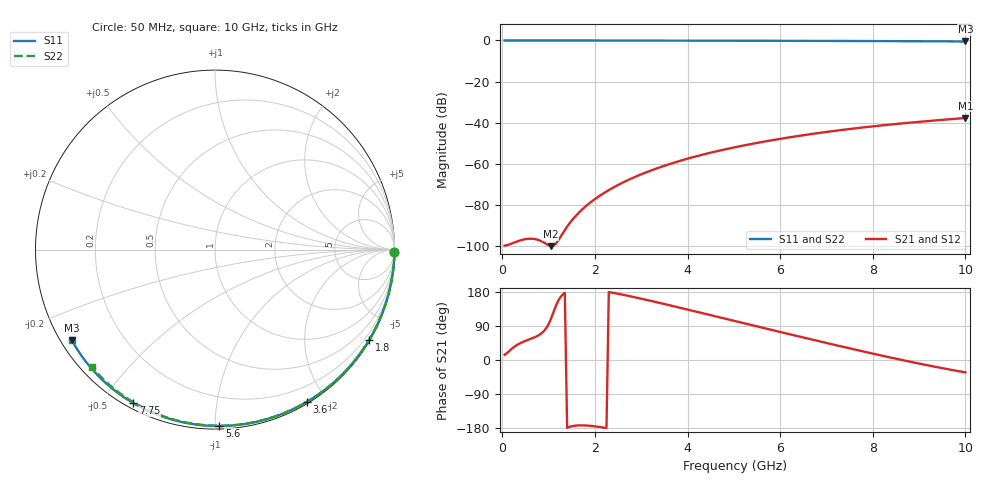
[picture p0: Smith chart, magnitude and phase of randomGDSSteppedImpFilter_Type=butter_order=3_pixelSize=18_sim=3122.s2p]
! freq	dB(S11)	phase(S11)	dB(S12)	phase(S12)
!  dB(S21)	phase(S21)	dB(S22)	phase(S22)
!S-par simulation data
#  GHz  S  DB  R 50
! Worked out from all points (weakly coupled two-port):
!   200 points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, 50 MHz to 10 GHz, reference 50 ohm
!   highest |S21| = -37.78 dB at 10 GHz (marker M1); lowest = -100.2 dB at 1.05 GHz (marker M2)
!   lowest |S11| = -0.5 dB at 10 GHz (marker M3), VSWR 34.67, Z = 1.56 - j14.4 ohm
!   |S11| at or under -10 dB: nowhere
!   |S22| runs from -0.5 to 0.0 dB; largest |S21 - S12| = 0
!   S11 on the Smith chart (normalised r, x): 50 MHz: open; 1.8 GHz: 0.03, -3.70; 3.6 GHz: 0.02, -1.77; 5.6 GHz: 0.02, -1.03; 7.75 GHz: 0.02, -0.60; 10 GHz: 0.03, -0.29
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0.05  -0.00 -0.9  -100.00 13.9  -100.00 13.9  -0.00 -0.8
0.55  -0.01 -9.4  -96.67 52.9  -96.67 52.9  -0.01 -8.5
1.05  -0.02 -17.8  -100.24 108.1  -100.24 108.1  -0.02 -16.1
1.75  -0.04 -29.4  -81.82 -172.6  -81.82 -172.6  -0.03 -26.7
1.8  -0.04 -30.2  -80.82 -172.8  -80.82 -172.8  -0.03 -27.5
1.85  -0.04 -31.0  -79.88 -173.2  -79.88 -173.2  -0.04 -28.2
2  -0.04 -33.5  -77.29 -175.1  -77.29 -175.1  -0.04 -30.4
2.15  -0.05 -35.9  -74.99 -177.7  -74.99 -177.7  -0.04 -32.7
2.35  -0.05 -39.2  -72.26 178.2  -72.26 178.2  -0.04 -35.6
2.55  -0.05 -42.4  -69.84 173.5  -69.84 173.5  -0.05 -38.6
2.95  -0.06 -48.8  -65.69 163.2  -65.69 163.2  -0.06 -44.4
3.4  -0.07 -55.8  -61.82 150.6  -61.82 150.6  -0.07 -50.8
3.6  -0.08 -58.9  -60.31 144.9  -60.31 144.9  -0.07 -53.7
4.3  -0.10 -69.6  -55.79 124.2  -55.79 124.2  -0.09 -63.4
5.05  -0.12 -80.7  -51.91 102.0  -51.91 102.0  -0.11 -73.6
5.6  -0.15 -88.6  -49.51 85.7  -49.51 85.7  -0.13 -80.9
6.15  -0.17 -96.3  -47.39 69.6  -47.39 69.6  -0.16 -88.0
6.7  -0.20 -103.9  -45.52 53.6  -45.52 53.6  -0.18 -95.0
7.75  -0.27 -118.0  -42.49 23.8  -42.49 23.8  -0.25 -108.0
8.35  -0.32 -126.0  -41.04 7.4  -41.04 7.4  -0.29 -115.3
9.2  -0.41 -137.2  -39.26 -14.3  -39.26 -14.3  -0.37 -125.8
10  -0.50 -147.8  -37.78 -32.7  -37.78 -32.7  -0.47 -136.1
